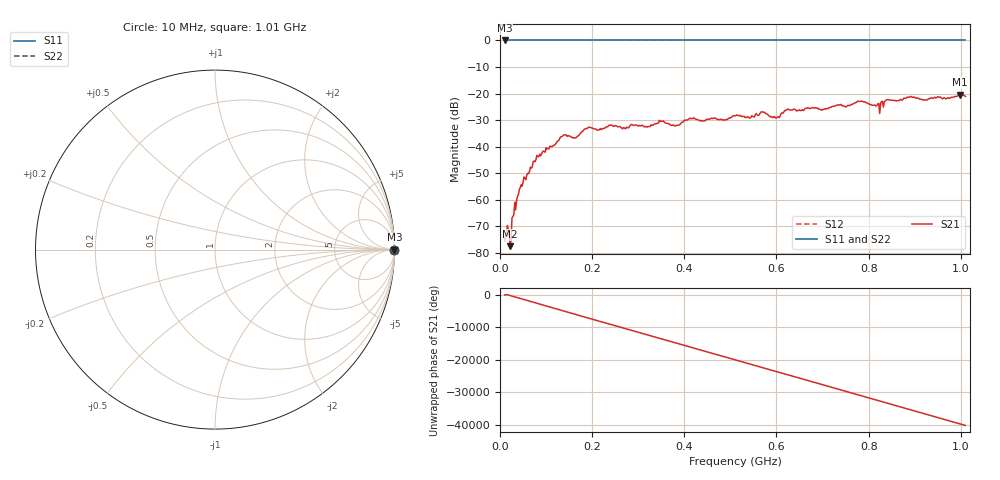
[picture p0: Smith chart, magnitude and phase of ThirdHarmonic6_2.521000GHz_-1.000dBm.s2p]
! 8/17/2025 4:58:01 AM
! C:\ANRITSUVNA\TEMP\TEMP.S2P
! CHANNEL.1
! TR.MEASUREMENT
! RAW.DATA
! RF.CORRECTION.OFF
! AVERAGING.OFF
! IF.BANDWIDTH: 5KHZ
! SWEEPTYPE:  FREQ.SWEEP(Linear)
! Reference Plane Port Info
! PORT:  PORT1  PORT2
! DISTANCE:  0  m  0  m
! TIME:  0  s  0  s
! PHASE.OFFSET:  0  deg.  0  deg.
! LOSS:  0  dB  0  dB
! REF.LOSS:  0  dB  0  dB
! REF.FREQ:  0  Hz  0  Hz
! Power Info
! POWER:  -20  dBm  -20  dBm
! EFF.POWER:  -20  dBm  -20  dBm
! SOURCE.ATTEN:  0  dB  0  dB
! TEST.ATTEN:  0  dB  0  dB
# GHZ S RI R 50.0
! FREQ.GHZ  S11RE  S11IM  S21RE  S21IM  S12RE  S12IM  S22RE  S22IM
!; PortSelection: Port_12
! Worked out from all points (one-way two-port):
!   501 points, 10 MHz to 1.01 GHz, reference 50 ohm
!   highest |S21| = -20.35 dB at 998 MHz (marker M1); lowest = -77.4 dB at 22 MHz (marker M2)
!   lowest |S11| = 0.0 dB at 10 MHz (marker M3)
!   |S11| at or under -10 dB: nowhere
!   |S22| runs from 0.0 to 0.0 dB; largest |S21 - S12| = 1.1
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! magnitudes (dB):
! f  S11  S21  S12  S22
! 10 MHz  0.0  -75.3  0.0  0.0
! 22 MHz  0.0  -77.4  0.0  0.0
! 26 MHz  0.0  -66.8  0.0  0.0
! 30 MHz  0.0  -65.6  0.0  0.0
! 42 MHz  0.0  -56.0  0.0  0.0
! 76 MHz  0.0  -45.7  0.0  0.0
! 136 MHz  0.0  -35.9  0.0  0.0
! 162 MHz  0.0  -36.6  0.0  0.0
! 178 MHz  0.0  -34.3  0.0  0.0
! 344 MHz  0.0  -31.1  0.0  0.0
! 384 MHz  0.0  -32.0  0.0  0.0
! 416 MHz  0.0  -29.5  0.0  0.0
! 510 MHz  0.0  -28.4  0.0  0.0
! 570 MHz  0.0  -26.9  0.0  0.0
! 602 MHz  0.0  -28.8  0.0  0.0
! 622 MHz  0.0  -26.1  0.0  0.0
! 678 MHz  0.0  -25.3  0.0  0.0
! 780 MHz  0.0  -23.0  0.0  0.0
! 820 MHz  0.0  -23.8  0.0  0.0
! 844 MHz  0.0  -22.3  0.0  0.0
! 998 MHz  0.0  -20.4  0.0  0.0
! 1.01 GHz  0.0  -21.1  0.0  0.0
